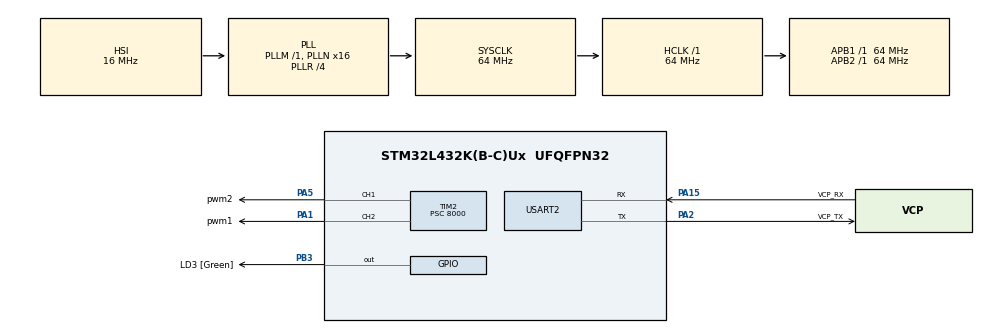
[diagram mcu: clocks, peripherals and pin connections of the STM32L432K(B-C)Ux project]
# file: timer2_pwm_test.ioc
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FREERTOS.BinarySemaphores01=myBinarySem01,Dynamic,NULL
FREERTOS.Mutexes01=myMutex01,Dynamic,NULL
FREERTOS.Tasks01=defaultTask,0,128,StartDefaultTask,Default,NULL,Dynamic,NULL,NULL;myTask02,-3,128,StartTask02,Default,NULL,Dynamic,NULL,NULL
Mcu.Family=STM32L4
Mcu.Name=STM32L432K(B-C)Ux
Mcu.Package=UFQFPN32
NVIC.PriorityGroup=NVIC_PRIORITYGROUP_4
NVIC.TIM2_IRQn=true\:5\:0\:false\:false\:true\:true\:true\:true
PA0.GPIO_Label=MCO [High speed clock in]
PA0.Mode=HSE-External-Clock-Source-for-LittleOrca
PA0.Signal=RCC_CK_IN
PA1.GPIO_Label=pwm1
PA1.GPIO_Speed=GPIO_SPEED_FREQ_HIGH
PA1.Signal=S_TIM2_CH2
PA13\ (JTMS-SWDIO).GPIO_Label=SWDIO
PA13\ (JTMS-SWDIO).Mode=Serial_Wire
PA13\ (JTMS-SWDIO).Signal=SYS_JTMS-SWDIO
PA14\ (JTCK-SWCLK).GPIO_Label=SWCLK
PA14\ (JTCK-SWCLK).Mode=Serial_Wire
PA14\ (JTCK-SWCLK).Signal=SYS_JTCK-SWCLK
PA15\ (JTDI).GPIO_Label=VCP_RX
PA15\ (JTDI).Mode=Asynchronous
PA15\ (JTDI).Signal=USART2_RX
PA2.GPIO_Label=VCP_TX
PA2.Mode=Asynchronous
PA2.Signal=USART2_TX
PA5.GPIO_Label=pwm2
PA5.GPIO_Speed=GPIO_SPEED_FREQ_HIGH
PA5.Signal=S_TIM2_CH1
PB3\ (JTDO-TRACESWO).GPIO_Label=LD3 [Green]
PB3\ (JTDO-TRACESWO).Signal=GPIO_Output
PC14-OSC32_IN\ (PC14).Mode=LSE-External-Oscillator
PC14-OSC32_IN\ (PC14).Signal=RCC_OSC32_IN
PC15-OSC32_OUT\ (PC15).Mode=LSE-External-Oscillator
PC15-OSC32_OUT\ (PC15).Signal=RCC_OSC32_OUT
ProjectManager.HeapSize=0x200
ProjectManager.StackSize=0x400
ProjectManager.TargetToolchain=Makefile
RCC.ADCFreq_Value=64000000
RCC.AHBFreq_Value=64000000
RCC.APB1Freq_Value=64000000
RCC.APB1TimFreq_Value=64000000
RCC.APB2Freq_Value=64000000
RCC.APB2TimFreq_Value=64000000
RCC.CortexFreq_Value=64000000
RCC.HCLKFreq_Value=64000000
RCC.HSI16_VALUE=16000000
RCC.HSI48_VALUE=48000000
RCC.HSI_VALUE=16000000
RCC.MSI_VALUE=4000000
RCC.PLLMUL=RCC_PLLMUL_4
RCC.PLLN=16
RCC.PLLR=RCC_PLLR_DIV4
RCC.PLLSourceVirtual=RCC_PLLSOURCE_HSI
RCC.SYSCLKFreq_VALUE=64000000
RCC.SYSCLKSource=RCC_SYSCLKSOURCE_PLLCLK
RCC.USBFreq_Value=64000000
RCC.VCOOutputFreq_Value=256000000
SH.S_TIM2_CH1.0=TIM2_CH1,PWM Generation1 CH1
SH.S_TIM2_CH2.0=TIM2_CH2,PWM Generation2 CH2
TIM2.Channel-PWM\ Generation1\ CH1=TIM_CHANNEL_1
TIM2.Channel-PWM\ Generation2\ CH2=TIM_CHANNEL_2
TIM2.Period=8000
TIM2.Prescaler=8000
USART2.VirtualMode-Asynchronous=VM_ASYNC
VP_FREERTOS_VS_CMSIS_V1.Mode=CMSIS_V1
VP_TIM2_VS_ClockSourceINT.Mode=Internal
board=NUCLEO-L432KC

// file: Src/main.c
/* USER CODE BEGIN Header */
/**
  ******************************************************************************
  * @file           : main.c
  * @brief          : Main program body
  ******************************************************************************
  * @attention
  *
  * <h2><center>&copy; Copyright (c) 2019 STMicroelectronics.
  * All rights reserved.</center></h2>
  *
  * This software component is licensed by ST under Ultimate Liberty license
  * SLA0044, the "License"; You may not use this file except in compliance with
  * the License. You may obtain a copy of the License at:
  *                             www.st.com/SLA0044
  *
  ******************************************************************************
  */
/* USER CODE END Header */

#include "main.h"
#include "cmsis_os.h"
#include "tim.h"
#include "usart.h"
#include "gpio.h"

void SystemClock_Config(void);
void MX_FREERTOS_Init(void);

int main(void)
{

  /* MCU Configuration--------------------------------------------------------*/

  /* Reset of all peripherals, Initializes the Flash interface and the Systick. */
  HAL_Init();

  /* Configure the system clock */
  SystemClock_Config();

  /* Initialize all configured peripherals */
  MX_GPIO_Init();
  MX_TIM2_Init();
  MX_USART2_UART_Init();

  /* Call init function for freertos objects (in freertos.c) */
  MX_FREERTOS_Init();

  /* Start scheduler */
  osKernelStart();

  /* We should never get here as control is now taken by the scheduler */

  /* Infinite loop */
  while (1)
  {

  }
}

void SystemClock_Config(void)
{
  RCC_OscInitTypeDef RCC_OscInitStruct = {0};
  RCC_ClkInitTypeDef RCC_ClkInitStruct = {0};
  RCC_PeriphCLKInitTypeDef PeriphClkInit = {0};

  /** Initializes the CPU, AHB and APB busses clocks
  */
  RCC_OscInitStruct.OscillatorType = RCC_OSCILLATORTYPE_HSI;
  RCC_OscInitStruct.HSIState = RCC_HSI_ON;
  RCC_OscInitStruct.HSICalibrationValue = RCC_HSICALIBRATION_DEFAULT;
  RCC_OscInitStruct.PLL.PLLState = RCC_PLL_ON;
  RCC_OscInitStruct.PLL.PLLSource = RCC_PLLSOURCE_HSI;
  RCC_OscInitStruct.PLL.PLLM = 1;
  RCC_OscInitStruct.PLL.PLLN = 16;
  RCC_OscInitStruct.PLL.PLLP = RCC_PLLP_DIV7;
  RCC_OscInitStruct.PLL.PLLQ = RCC_PLLQ_DIV2;
  RCC_OscInitStruct.PLL.PLLR = RCC_PLLR_DIV4;
  if (HAL_RCC_OscConfig(&RCC_OscInitStruct) != HAL_OK)
  {
    Error_Handler();
  }
  /** Initializes the CPU, AHB and APB busses clocks
  */
  RCC_ClkInitStruct.ClockType = RCC_CLOCKTYPE_HCLK|RCC_CLOCKTYPE_SYSCLK
                              |RCC_CLOCKTYPE_PCLK1|RCC_CLOCKTYPE_PCLK2;
  RCC_ClkInitStruct.SYSCLKSource = RCC_SYSCLKSOURCE_PLLCLK;
  RCC_ClkInitStruct.AHBCLKDivider = RCC_SYSCLK_DIV1;
  RCC_ClkInitStruct.APB1CLKDivider = RCC_HCLK_DIV1;
  RCC_ClkInitStruct.APB2CLKDivider = RCC_HCLK_DIV1;

  if (HAL_RCC_ClockConfig(&RCC_ClkInitStruct, FLASH_LATENCY_3) != HAL_OK)
  {
    Error_Handler();
  }
  PeriphClkInit.PeriphClockSelection = RCC_PERIPHCLK_USART2;
  PeriphClkInit.Usart2ClockSelection = RCC_USART2CLKSOURCE_PCLK1;
  if (HAL_RCCEx_PeriphCLKConfig(&PeriphClkInit) != HAL_OK)
  {
    Error_Handler();
  }
  /** Configure the main internal regulator output voltage
  */
  if (HAL_PWREx_ControlVoltageScaling(PWR_REGULATOR_VOLTAGE_SCALE1) != HAL_OK)
  {
    Error_Handler();
  }
}

void Error_Handler(void)
{
}

/************************ (C) COPYRIGHT STMicroelectronics *****END OF FILE****/

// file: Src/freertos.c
/* USER CODE BEGIN Header */
/**
  ******************************************************************************
  * File Name          : freertos.c
  * Description        : Code for freertos applications
  ******************************************************************************
  * @attention
  *
  * <h2><center>&copy; Copyright (c) 2019 STMicroelectronics.
  * All rights reserved.</center></h2>
  *
  * This software component is licensed by ST under Ultimate Liberty license
  * SLA0044, the "License"; You may not use this file except in compliance with
  * the License. You may obtain a copy of the License at:
  *                             www.st.com/SLA0044
  *
  ******************************************************************************
  */
/* USER CODE END Header */

#include "FreeRTOS.h"
#include "task.h"
#include "main.h"
#include "cmsis_os.h"

/* USER CODE BEGIN Includes */
#include <string.h>
#include <stdio.h>
#include "usart.h"
#include "tim.h"
/* USER CODE END Includes */

osThreadId defaultTaskHandle;
osThreadId myTask02Handle;
osMutexId myMutex01Handle;
osSemaphoreId myBinarySem01Handle;

void StartDefaultTask(void const * argument);
void StartTask02(void const * argument);

void MX_FREERTOS_Init(void); /* (MISRA C 2004 rule 8.1) */

void MX_FREERTOS_Init(void) {

    /* Create the mutex(es) */
    /* definition and creation of myMutex01 */
    osMutexDef(myMutex01);
    myMutex01Handle = osMutexCreate(osMutex(myMutex01));

    /* Create the semaphores(s) */
    /* definition and creation of myBinarySem01 */
    osSemaphoreDef(myBinarySem01);
    myBinarySem01Handle = osSemaphoreCreate(osSemaphore(myBinarySem01), 1);

    /* Create the thread(s) */
    /* definition and creation of defaultTask */
    osThreadDef(defaultTask, StartDefaultTask, osPriorityNormal, 0, 128);
    defaultTaskHandle = osThreadCreate(osThread(defaultTask), NULL);

    /* definition and creation of myTask02 */
    osThreadDef(myTask02, StartTask02, osPriorityIdle, 0, 128);
    myTask02Handle = osThreadCreate(osThread(myTask02), NULL);

}

void StartDefaultTask(void const * argument) {

    for(;;) {
        osDelay(1);
    }
}

void StartTask02(void const * argument) {
    /* USER CODE BEGIN StartTask02 */
    TIM_OC_InitTypeDef sConfigOC = {0};
    HAL_TIM_Base_Start_IT(&htim2);
    /* HAL_TIM_PWM_Start(&htim2,TIM_CHANNEL_ALL); */
    HAL_TIM_PWM_Start(&htim2,TIM_CHANNEL_1);
    HAL_TIM_PWM_Start(&htim2,TIM_CHANNEL_2);
    uint32_t cnt = 0;
    int duty_cycle = 0;     // 1000 is 100%
    char buffer[16];
    for(;;) {
        cnt += 1;
        snprintf(&buffer[0], sizeof(buffer), "cnt=%li\n", cnt);
        HAL_UART_Transmit(&huart2, (uint8_t *)buffer, strlen(buffer), 10);
        osDelay(10);
        HAL_Delay(10);
        if(cnt % 10 == 0) {
            duty_cycle += 10;
            if(duty_cycle >= 1000) {
                duty_cycle = 0;
            }
            sConfigOC.OCMode = TIM_OCMODE_PWM1;
            sConfigOC.Pulse = duty_cycle;
            sConfigOC.OCPolarity = TIM_OCPOLARITY_HIGH;
            sConfigOC.OCFastMode = TIM_OCFAST_DISABLE;
            if (HAL_TIM_PWM_ConfigChannel(&htim2, &sConfigOC, TIM_CHANNEL_1) != HAL_OK) {
                Error_Handler();
            }
            if (HAL_TIM_PWM_ConfigChannel(&htim2, &sConfigOC, TIM_CHANNEL_2) != HAL_OK) {
                Error_Handler();
            }
            HAL_TIM_PWM_Start(&htim2,TIM_CHANNEL_1);
            HAL_TIM_PWM_Start(&htim2,TIM_CHANNEL_2);
        }
    }
    /* USER CODE END StartTask02 */
}

/************************ (C) COPYRIGHT STMicroelectronics *****END OF FILE****/
